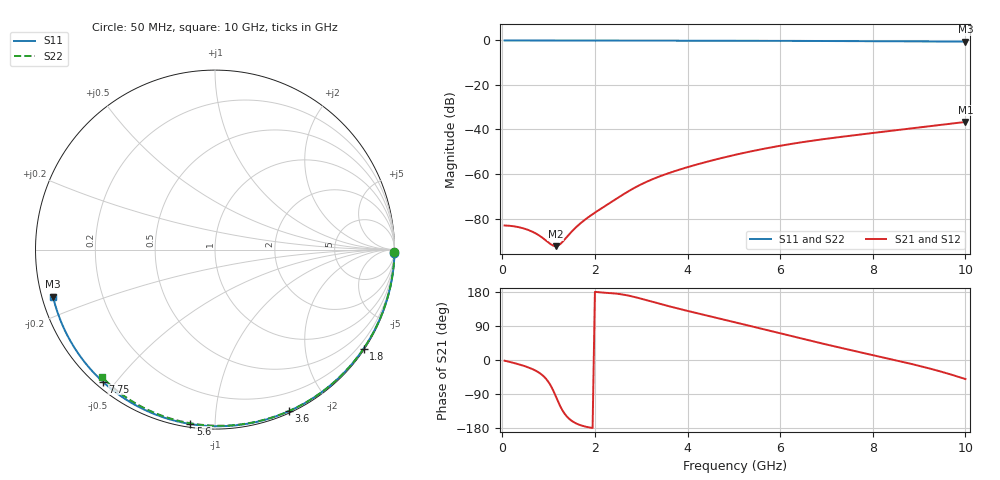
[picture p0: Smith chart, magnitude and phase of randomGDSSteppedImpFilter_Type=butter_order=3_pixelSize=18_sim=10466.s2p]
! freq	dB(S11)	phase(S11)	dB(S12)	phase(S12)
!  dB(S21)	phase(S21)	dB(S22)	phase(S22)
!S-par simulation data
#  GHz  S  DB  R 50
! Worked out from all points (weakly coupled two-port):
!   200 points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, 50 MHz to 10 GHz, reference 50 ohm
!   highest |S21| = -36.66 dB at 10 GHz (marker M1); lowest = -92.4 dB at 1.15 GHz (marker M2)
!   lowest |S11| = -0.5 dB at 10 GHz (marker M3), VSWR 32.28, Z = 1.58 - j7.09 ohm
!   |S11| at or under -10 dB: nowhere
!   |S22| runs from -0.5 to 0.0 dB; largest |S21 - S12| = 0
!   S11 on the Smith chart (normalised r, x): 50 MHz: open; 1.8 GHz: 0.03, -3.30; 3.6 GHz: 0.02, -1.55; 5.6 GHz: 0.02, -0.87; 7.75 GHz: 0.02, -0.46; 10 GHz: 0.03, -0.14
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0.05  -0.00 -1.0  -83.14 -1.9  -83.14 -1.9  -0.00 -0.8
0.6  -0.01 -11.4  -85.47 -21.4  -85.47 -21.4  -0.01 -9.1
1.15  -0.03 -21.7  -92.43 -94.2  -92.43 -94.2  -0.02 -17.4
1.75  -0.04 -32.8  -81.10 -174.4  -81.10 -174.4  -0.03 -26.3
1.8  -0.04 -33.7  -80.30 -176.0  -80.30 -176.0  -0.03 -27.0
1.85  -0.04 -34.6  -79.53 -177.3  -79.53 -177.3  -0.04 -27.7
2.3  -0.05 -42.8  -73.31 176.9  -73.31 176.9  -0.04 -34.3
2.8  -0.07 -51.7  -66.84 167.9  -66.84 167.9  -0.05 -41.5
3.1  -0.07 -56.9  -63.65 158.4  -63.65 158.4  -0.06 -45.8
3.4  -0.08 -62.1  -61.06 148.3  -61.06 148.3  -0.07 -50.0
3.6  -0.09 -65.5  -59.56 141.9  -59.56 141.9  -0.07 -52.8
3.95  -0.10 -71.4  -57.24 131.1  -57.24 131.1  -0.08 -57.6
4.3  -0.11 -77.2  -55.16 120.7  -55.16 120.7  -0.09 -62.4
5.05  -0.14 -89.4  -51.28 98.8  -51.28 98.8  -0.11 -72.4
5.6  -0.16 -98.0  -48.86 82.4  -48.86 82.4  -0.13 -79.5
6.15  -0.19 -106.5  -46.79 65.9  -46.79 65.9  -0.15 -86.5
6.7  -0.22 -114.8  -45.03 49.5  -45.03 49.5  -0.18 -93.3
7.2  -0.26 -122.3  -43.62 35.2  -43.62 35.2  -0.21 -99.4
7.75  -0.30 -130.4  -42.21 19.9  -42.21 19.9  -0.24 -105.9
8.35  -0.36 -139.2  -40.70 3.4  -40.70 3.4  -0.29 -113.0
9.2  -0.45 -151.8  -38.53 -21.6  -38.53 -21.6  -0.36 -122.7
10  -0.54 -163.8  -36.66 -50.3  -36.66 -50.3  -0.46 -131.6
